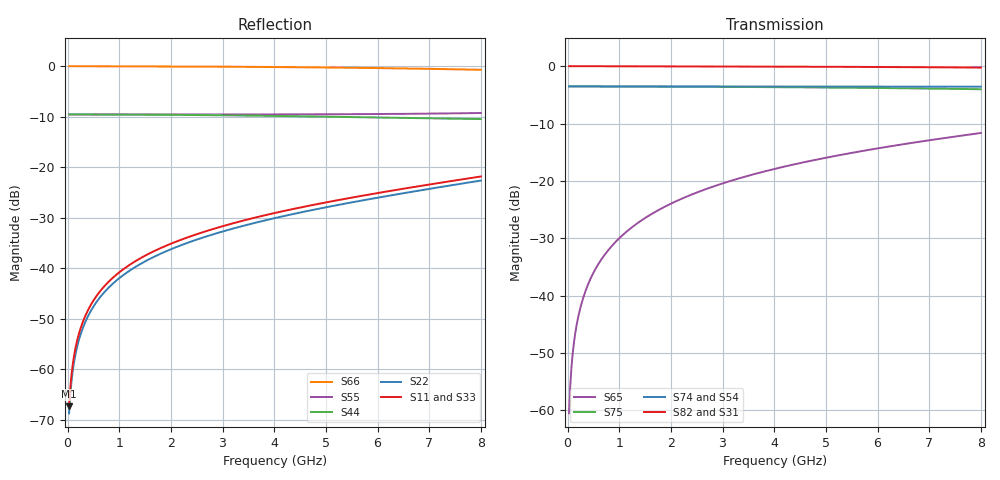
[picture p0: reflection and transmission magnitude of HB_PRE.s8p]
! Sonnet Data File
! From: em Version : 19.54.2026
! From Project: HB_PRE
! Data is De-embedded
! Data File Written: 11/09/2026 22:37:52
!< HDATE 11/09/2026 22:37:23
!< MDATE 11/09/2026 22:37:23
# GHZ S RI R 50.00000
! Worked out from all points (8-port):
!   320 points, 30 MHz to 8 GHz, reference 50 ohm
!   strongest paths, dB at 30 MHz, 2.025 GHz, 4.025 GHz, 6.025 GHz, 8 GHz:
!     S82: 0.0, 0.0, -0.1, -0.1, -0.3
!     S31: 0.0, 0.0, -0.1, -0.2, -0.3
!     S74: -3.5, -3.5, -3.5, -3.5, -3.6
!     S54: -3.5, -3.6, -3.6, -3.8, -4.0
!     S75: -3.5, -3.6, -3.7, -3.8, -4.0
!     S65: -60.5, -23.9, -17.9, -14.3, -11.6
!   lowest |S11| = -67.3 dB at 30 MHz (marker M1), VSWR 1.00, Z = 50 + j0.0408 ohm
!   |S11| at or under -10 dB: start of sweep to end of sweep
